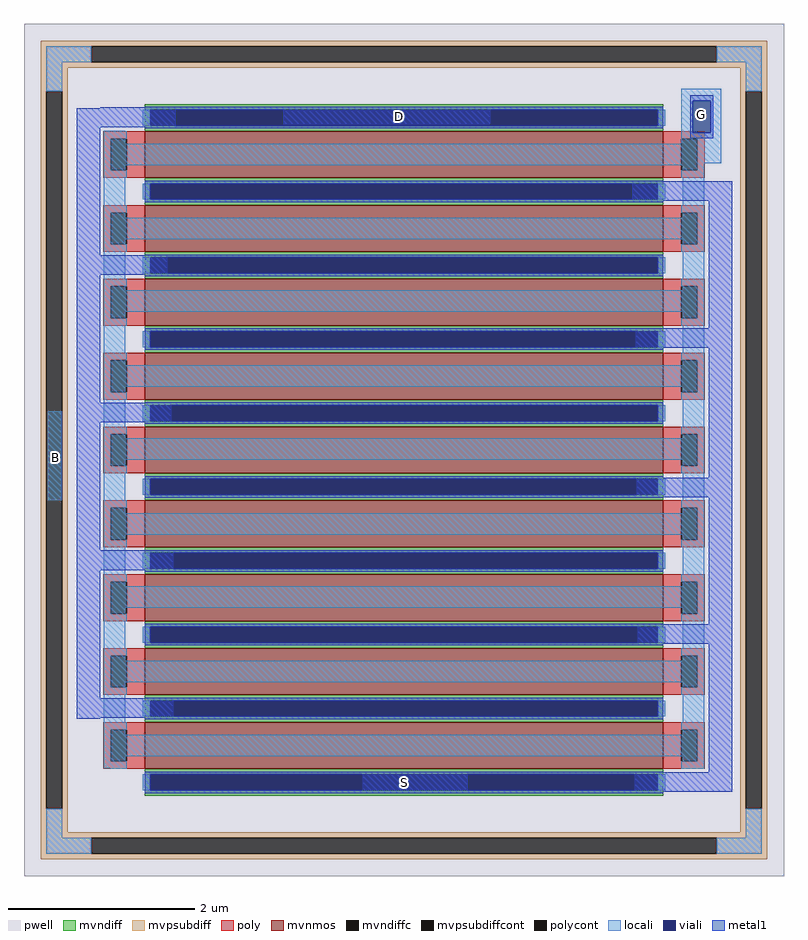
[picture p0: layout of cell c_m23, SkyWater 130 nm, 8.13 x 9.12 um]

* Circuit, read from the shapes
.subckt c_m23 D G S B
XM1 D G S B sky130_fd_pr__nfet_g5v0d10v5 w=5.55 l=0.5 m=9
.ends

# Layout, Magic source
magic
tech sky130A
magscale 1 2
<< locali >>
rect 1329 1614 1415 1640
rect 94 1522 140 1550
rect 1329 1546 1354 1614
rect 1392 1546 1415 1614
rect 1329 1522 1415 1546
rect 94 1480 1415 1522
rect 94 1476 1378 1480
rect 94 1364 140 1476
rect 1332 1364 1378 1476
rect 94 1318 1378 1364
rect 94 1209 140 1318
rect 1332 1209 1378 1318
rect 94 1163 1378 1209
rect 94 1048 140 1163
rect 1332 1048 1378 1163
rect 94 1002 1378 1048
rect -26 760 4 950
rect 94 892 140 1002
rect 1332 892 1378 1002
rect 94 846 1378 892
rect 94 732 140 846
rect 1332 732 1378 846
rect 94 686 1378 732
rect 94 576 140 686
rect 1332 576 1378 686
rect 94 530 1378 576
rect 94 416 140 530
rect 1332 416 1378 530
rect 94 370 1378 416
rect 94 258 140 370
rect 1332 258 1378 370
rect 94 212 1378 258
rect 94 186 140 212
rect 1332 185 1378 212
<< viali >>
rect 1354 1546 1392 1614
<< metal1 >>
rect 1348 1614 1398 1626
rect 86 1598 248 1600
rect 36 1558 248 1598
rect 478 1564 920 1594
rect 36 1284 86 1558
rect 1348 1546 1354 1614
rect 1392 1546 1398 1614
rect 1348 1534 1398 1546
rect 1224 1400 1438 1442
rect 36 1242 230 1284
rect 36 968 86 1242
rect 1388 1128 1438 1400
rect 1232 1086 1438 1128
rect 36 926 238 968
rect 36 652 86 926
rect 1388 808 1438 1086
rect 1234 766 1438 808
rect 36 610 242 652
rect 36 336 86 610
rect 1388 494 1438 766
rect 1236 452 1438 494
rect 36 294 242 336
rect 36 292 86 294
rect 1388 178 1438 452
rect 648 140 872 172
rect 1230 136 1438 178
use sky130_fd_pr__nfet_g5v0d10v5_6TQW9H  sky130_fd_pr__nfet_g5v0d10v5_6TQW9H_0
transform 0 1 736 -1 0 867
box -912 -813 912 813
<< labels >>
flabel metal1 726 1580 726 1580 0 FreeSans 800 0 0 0 D
port 0 nsew
flabel viali 1372 1584 1372 1584 0 FreeSans 800 0 0 0 G
port 1 nsew
flabel metal1 738 156 738 156 0 FreeSans 800 0 0 0 S
port 2 nsew
flabel locali -10 852 -10 852 0 FreeSans 800 0 0 0 B
port 3 nsew
<< end >>

# cell sky130_fd_pr__nfet_g5v0d10v5_6TQW9H: kit device sky130_fd_pr__nfet_g5v0d10v5, w 5.55 l 0.5 m 1 nf 9 diffcov 100 polycov 100 guard 1 glc 1 grc 1 gtc 1 gbc 1 tbcov 100 rlcov 100 topc 1 botc 1 poverlap 0 doverlap 1 lmin 0.50 wmin 0.42 class mosfet compatible {sky130_fd_pr__nfet_01v8 sky130_fd_pr__nfet_01v8_lvt sky130_fd_bs_flash__special_sonosfet_star sky130_fd_pr__nfet_g5v0d10v5 sky130_fd_pr__nfet_05v0_nvt sky130_fd_pr__nfet_03v3_nvt} full_metal 1 conn_gates 0 viasrc 100 viadrn 100 viagate 100 viagb 0 viagr 0 viagl 0 viagt 0 doports 1
